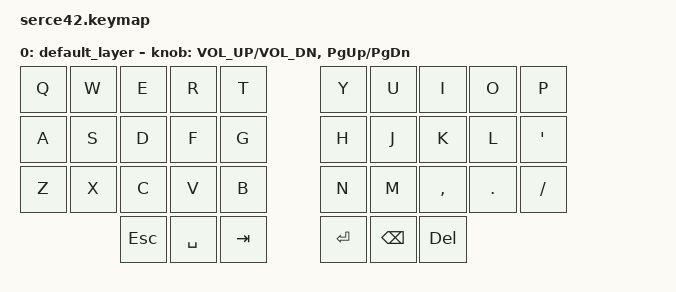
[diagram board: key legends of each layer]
#include <behaviors.dtsi>
#include <dt-bindings/zmk/keys.h>
#include <dt-bindings/zmk/bt.h>

/ {
    keymap {
        compatible = "zmk,keymap";

    //     default_layer {
    //         bindings = <
    // &kp ESC    &kp Q    &kp W    &kp E     &kp R     &kp T      &kp Y       &kp U     &kp I     &kp O     &kp P    &kp BSPC
    // &kp TAB    &kp A    &kp S    &kp D     &kp F     &kp G      &kp H       &kp J     &kp K     &kp L     &kp SEMI &kp SQT
    // &kp LSHIFT &kp Z    &kp X    &kp C     &kp V     &kp B      &kp N       &kp M     &kp COMMA &kp DOT   &kp FSLH &kp RSHFT
    //                              &kp LALT  &kp X     &kp RET    &kp SPACE   &kp X     &kp LCTRL
    //         >;

    //         sensor-bindings = <&inc_dec_kp C_VOL_UP C_VOL_DN &inc_dec_kp PG_UP PG_DN>;
    //     };
        default_layer {
            bindings = <
    &kp Q    &kp W    &kp E    &kp R     &kp T     &kp Y      &kp U     &kp I       &kp O      &kp P 
    &kp A    &kp S    &kp D    &kp F     &kp G     &kp H      &kp J     &kp K       &kp L      &kp SQT 
    &kp Z    &kp X    &kp C    &kp V     &kp B     &kp N      &kp M     &kp COMMA   &kp DOT    &kp FSLH
                      &kp ESC  &kp SPACE     &kp TAB    &kp RET   &kp BSPC     &kp DEL
            >;

            sensor-bindings = <&inc_dec_kp C_VOL_UP C_VOL_DN &inc_dec_kp PG_UP PG_DN>;
        };
    };
};
